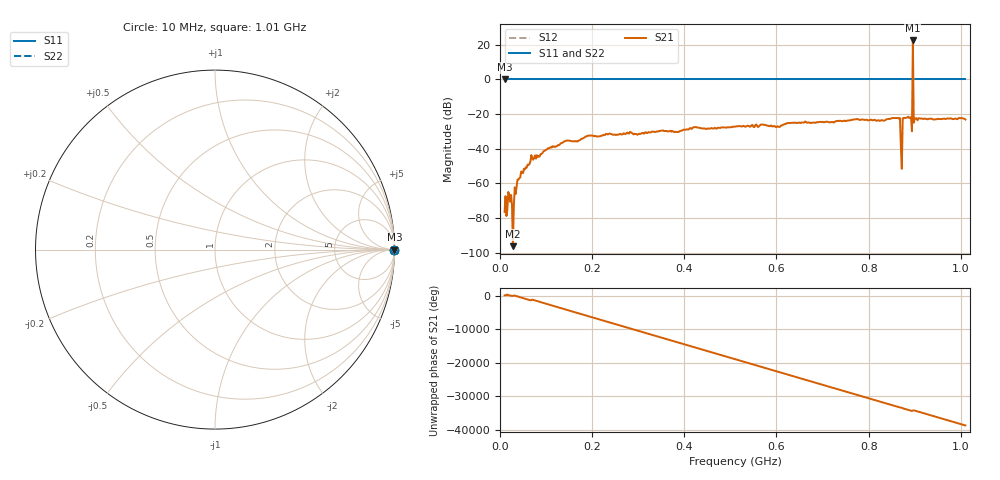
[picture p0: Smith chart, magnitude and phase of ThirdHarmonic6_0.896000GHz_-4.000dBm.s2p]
! 8/16/2025 5:24:37 AM
! C:\ANRITSUVNA\TEMP\TEMP.S2P
! CHANNEL.1
! TR.MEASUREMENT
! RAW.DATA
! RF.CORRECTION.OFF
! AVERAGING.OFF
! IF.BANDWIDTH: 5KHZ
! SWEEPTYPE:  FREQ.SWEEP(Linear)
! Reference Plane Port Info
! PORT:  PORT1  PORT2
! DISTANCE:  0  m  0  m
! TIME:  0  s  0  s
! PHASE.OFFSET:  0  deg.  0  deg.
! LOSS:  0  dB  0  dB
! REF.LOSS:  0  dB  0  dB
! REF.FREQ:  0  Hz  0  Hz
! Power Info
! POWER:  -20  dBm  -20  dBm
! EFF.POWER:  -20  dBm  -20  dBm
! SOURCE.ATTEN:  0  dB  0  dB
! TEST.ATTEN:  0  dB  0  dB
# GHZ S RI R 50.0
! FREQ.GHZ  S11RE  S11IM  S21RE  S21IM  S12RE  S12IM  S22RE  S22IM
!; PortSelection: Port_12
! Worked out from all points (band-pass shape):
!   501 points, 10 MHz to 1.01 GHz, reference 50 ohm
!   highest |S21| = 22.48 dB at 896 MHz (marker M1); lowest = -96.2 dB at 28 MHz (marker M2)
!   |S21| within 3 dB of the highest: 895.8854 MHz to 896.1264 MHz (241 kHz wide, 0.0269 % of centre)
!   lowest |S11| = 0.0 dB at 10 MHz (marker M3)
!   |S11| at or under -10 dB: nowhere
!   |S22| runs from 0.0 to 0.0 dB; largest |S21 - S12| = 12
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0.01  1 0  -4.1e-06 0.00015  1 0  1 0
0.022  1 0  0.000218 0.0002  1 0  1 0
0.026  1 0  -2.55e-05 -0.000241  1 0  1 0
0.028  1 0  7e-06 -1.38e-05  1 0  1 0
0.042  1 0  0.00115 -0.000829  1 0  1 0
0.072  1 0  -0.00481 0.000492  1 0  1 0
0.178  1 0  -0.0189 -0.00434  1 0  1 0
0.344  1 0  0.031 -0.00556  1 0  1 0
0.51  1 0  -0.0418 0.0115  1 0  1 0
0.678  1 0  -0.0179 -0.0536  1 0  1 0
0.844  1 0  0.0429 0.0587  1 0  1 0
0.864  1 0  0.0622 -0.045  1 0  1 0
0.868  1 0  -0.0735 0.0215  1 0  1 0
0.87  1 0  -0.00842 0.00709  1 0  1 0
0.874  1 0  0.0161 -0.0729  1 0  1 0
0.878  1 0  -0.0401 0.0655  1 0  1 0
0.89  1 0  0.0794 -0.00443  1 0  1 0
0.892  1 0  0.00934 -0.0808  1 0  1 0
0.896  1 0  12.88 -3.371  1 0  1 0
0.9  1 0  0.0482 -0.0584  1 0  1 0
0.902  1 0  -0.0476 -0.058  1 0  1 0
1.01  1 0  -0.0642 -0.0269  1 0  1 0
